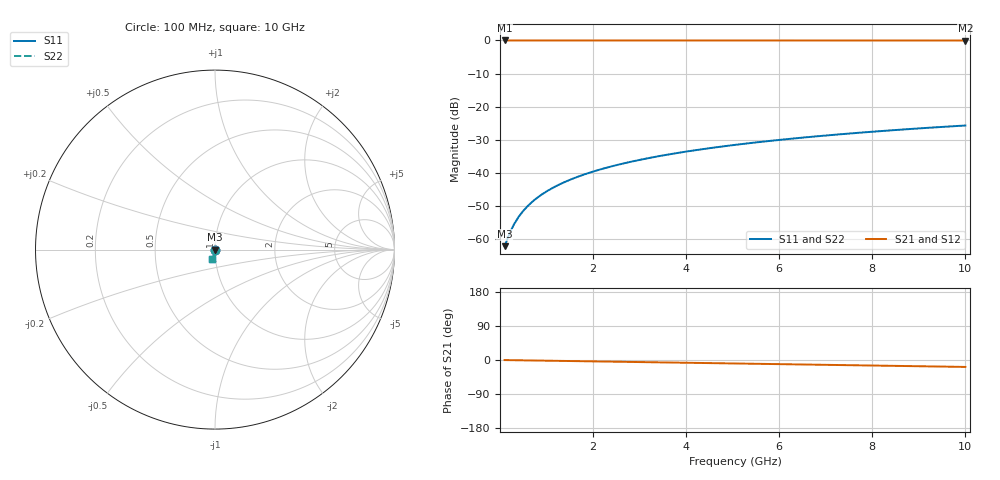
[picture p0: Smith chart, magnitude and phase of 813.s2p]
# Hz S RI R 50.00
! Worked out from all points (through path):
!   100 points, 100 MHz to 10 GHz, reference 50 ohm
!   highest |S21| = -0.01 dB at 100 MHz (marker M1); lowest = 0.0 dB at 10 GHz (marker M2)
!   group delay of S21, straight-line fit = 5.08 ps
!   lowest |S11| = -62.1 dB at 100 MHz (marker M3), VSWR 1.00, Z = 50.1 - j0.0526 ohm
!   |S11| at or under -10 dB: start of sweep to end of sweep
!   |S22| runs from -62.1 to -25.7 dB; largest |S21 - S12| = 0
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1e8  0.000589 -0.000525  0.9994 -0.00316  0.9994 -0.00316  0.000589 -0.000525
2e8  0.000586 -0.00105  0.9994 -0.00631  0.9994 -0.00631  0.000586 -0.00105
3e8  0.000579 -0.00158  0.9993 -0.00947  0.9993 -0.00947  0.000579 -0.00158
4e8  0.000568 -0.0021  0.9993 -0.0126  0.9993 -0.0126  0.000568 -0.0021
5e8  0.000553 -0.00263  0.9993 -0.0158  0.9993 -0.0158  0.000553 -0.00263
6e8  0.000535 -0.00315  0.9992 -0.0189  0.9992 -0.0189  0.000535 -0.00315
7e8  0.000513 -0.00368  0.9991 -0.0221  0.9991 -0.0221  0.000513 -0.00368
9e8  0.00046 -0.00473  0.999 -0.0284  0.999 -0.0284  0.00046 -0.00473
1e9  0.000428 -0.00526  0.9989 -0.0316  0.9989 -0.0316  0.000428 -0.00526
1.2e9  0.000354 -0.00631  0.9986 -0.0379  0.9986 -0.0379  0.000354 -0.00631
1.5e9  0.000217 -0.00788  0.9982 -0.0473  0.9982 -0.0473  0.000217 -0.00788
1.8e9  5.07e-05 -0.00946  0.9977 -0.0568  0.9977 -0.0568  5.07e-05 -0.00946
2.1e9  -0.000146 -0.011  0.9971 -0.0663  0.9971 -0.0663  -0.000146 -0.011
2.5e9  -0.000456 -0.0131  0.9961 -0.0789  0.9961 -0.0789  -0.000456 -0.0131
2.9e9  -0.00082 -0.0152  0.995 -0.0916  0.995 -0.0916  -0.00082 -0.0152
3.4e9  -0.00135 -0.0178  0.9934 -0.1073  0.9934 -0.1073  -0.00135 -0.0178
4.2e9  -0.00237 -0.022  0.9902 -0.1326  0.9902 -0.1326  -0.00237 -0.022
5.1e9  -0.00378 -0.0266  0.9859 -0.1609  0.9859 -0.1609  -0.00378 -0.0266
5.9e9  -0.00525 -0.0306  0.9813 -0.1861  0.9813 -0.1861  -0.00525 -0.0306
6.7e9  -0.00692 -0.0346  0.976 -0.2111  0.976 -0.2111  -0.00692 -0.0346
8.4e9  -0.0111 -0.0426  0.9626 -0.264  0.9626 -0.264  -0.0111 -0.0426
1e10  -0.0159 -0.0496  0.9473 -0.3133  0.9473 -0.3133  -0.0159 -0.0496
